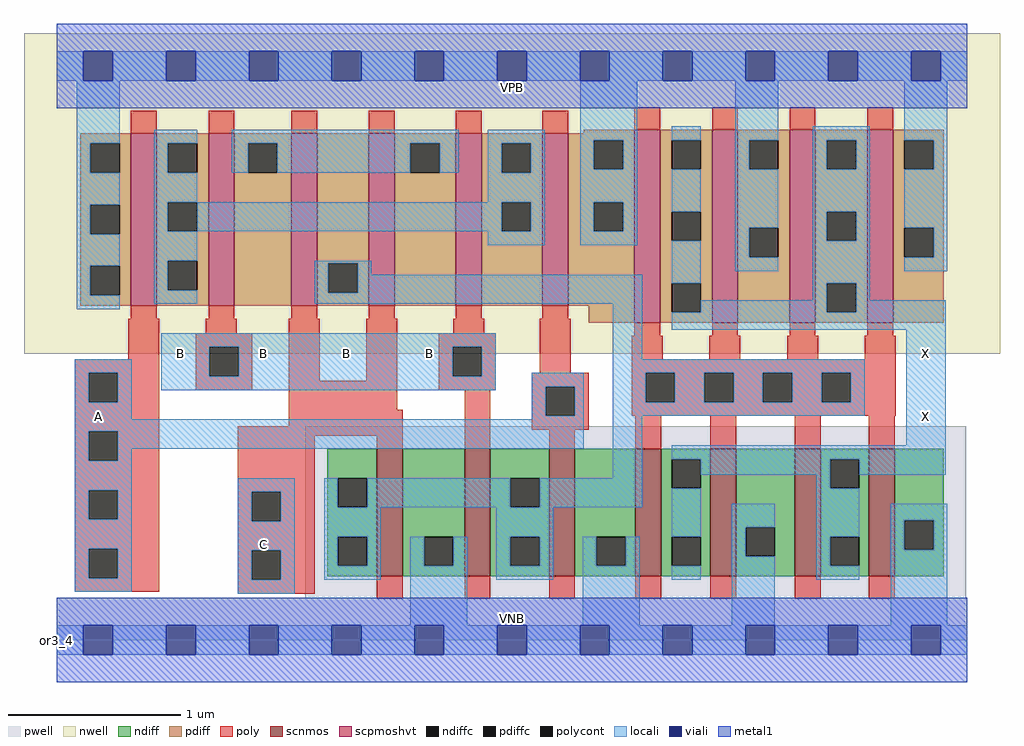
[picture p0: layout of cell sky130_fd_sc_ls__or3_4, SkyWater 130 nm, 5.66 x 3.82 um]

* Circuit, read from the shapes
.subckt sky130_fd_sc_ls__or3_4 A B C VGND VNB VPB VPWR X
XM1 VGND C n1 VNB sky130_fd_pr__nfet_01v8 w=0.74 l=0.15
XM2 n1 B VGND VNB sky130_fd_pr__nfet_01v8 w=0.74 l=0.15
XM3 VGND A n1 VNB sky130_fd_pr__nfet_01v8 w=0.74 l=0.15
XM4 X n1 VGND VNB sky130_fd_pr__nfet_01v8 w=0.74 l=0.15 m=4
XM5 n2 A VPWR VPB sky130_fd_pr__pfet_01v8_hvt w=1 l=0.15 m=2
XM6 n3 B n2 VPB sky130_fd_pr__pfet_01v8_hvt w=1 l=0.15 m=2
XM7 n1 C n3 VPB sky130_fd_pr__pfet_01v8_hvt w=1 l=0.15 m=2
XM8 X n1 VPWR VPB sky130_fd_pr__pfet_01v8_hvt w=1.12 l=0.15 m=4
.ends

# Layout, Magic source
magic
tech sky130A
magscale 1 2
<< nwell >>
rect -38 332 1094 704
<< pwell >>
rect 288 49 1055 248
rect 0 0 1056 49
<< scnmos >>
rect 371 74 401 222
rect 473 74 503 222
rect 571 74 601 222
rect 671 74 701 222
rect 758 74 788 222
rect 856 74 886 222
rect 942 74 972 222
<< scpmoshvt >>
rect 86 388 116 588
rect 176 388 206 588
rect 272 388 302 588
rect 362 388 392 588
rect 463 388 493 588
rect 563 388 593 588
rect 670 368 700 592
rect 760 368 790 592
rect 850 368 880 592
rect 940 368 970 592
<< ndiff >>
rect 314 188 371 222
rect 314 154 326 188
rect 360 154 371 188
rect 314 120 371 154
rect 314 86 326 120
rect 360 86 371 120
rect 314 74 371 86
rect 401 120 473 222
rect 401 86 426 120
rect 460 86 473 120
rect 401 74 473 86
rect 503 188 571 222
rect 503 154 526 188
rect 560 154 571 188
rect 503 120 571 154
rect 503 86 526 120
rect 560 86 571 120
rect 503 74 571 86
rect 601 120 671 222
rect 601 86 626 120
rect 660 86 671 120
rect 601 74 671 86
rect 701 210 758 222
rect 701 176 713 210
rect 747 176 758 210
rect 701 120 758 176
rect 701 86 713 120
rect 747 86 758 120
rect 701 74 758 86
rect 788 131 856 222
rect 788 97 799 131
rect 833 97 856 131
rect 788 74 856 97
rect 886 210 942 222
rect 886 176 897 210
rect 931 176 942 210
rect 886 120 942 176
rect 886 86 897 120
rect 931 86 942 120
rect 886 74 942 86
rect 972 139 1029 222
rect 972 105 983 139
rect 1017 105 1029 139
rect 972 74 1029 105
<< pdiff >>
rect 611 588 670 592
rect 27 576 86 588
rect 27 542 39 576
rect 73 542 86 576
rect 27 505 86 542
rect 27 471 39 505
rect 73 471 86 505
rect 27 434 86 471
rect 27 400 39 434
rect 73 400 86 434
rect 27 388 86 400
rect 116 576 176 588
rect 116 542 129 576
rect 163 542 176 576
rect 116 508 176 542
rect 116 474 129 508
rect 163 474 176 508
rect 116 440 176 474
rect 116 406 129 440
rect 163 406 176 440
rect 116 388 176 406
rect 206 576 272 588
rect 206 542 222 576
rect 256 542 272 576
rect 206 388 272 542
rect 302 437 362 588
rect 302 403 315 437
rect 349 403 362 437
rect 302 388 362 403
rect 392 576 463 588
rect 392 542 410 576
rect 444 542 463 576
rect 392 388 463 542
rect 493 576 563 588
rect 493 542 516 576
rect 550 542 563 576
rect 493 508 563 542
rect 493 474 516 508
rect 550 474 563 508
rect 493 388 563 474
rect 593 580 670 588
rect 593 546 623 580
rect 657 546 670 580
rect 593 508 670 546
rect 593 474 623 508
rect 657 474 670 508
rect 593 388 670 474
rect 617 368 670 388
rect 700 580 760 592
rect 700 546 713 580
rect 747 546 760 580
rect 700 497 760 546
rect 700 463 713 497
rect 747 463 760 497
rect 700 414 760 463
rect 700 380 713 414
rect 747 380 760 414
rect 700 368 760 380
rect 790 580 850 592
rect 790 546 803 580
rect 837 546 850 580
rect 790 478 850 546
rect 790 444 803 478
rect 837 444 850 478
rect 790 368 850 444
rect 880 580 940 592
rect 880 546 893 580
rect 927 546 940 580
rect 880 497 940 546
rect 880 463 893 497
rect 927 463 940 497
rect 880 414 940 463
rect 880 380 893 414
rect 927 380 940 414
rect 880 368 940 380
rect 970 580 1029 592
rect 970 546 983 580
rect 1017 546 1029 580
rect 970 478 1029 546
rect 970 444 983 478
rect 1017 444 1029 478
rect 970 368 1029 444
<< ndiffc >>
rect 326 154 360 188
rect 326 86 360 120
rect 426 86 460 120
rect 526 154 560 188
rect 526 86 560 120
rect 626 86 660 120
rect 713 176 747 210
rect 713 86 747 120
rect 799 97 833 131
rect 897 176 931 210
rect 897 86 931 120
rect 983 105 1017 139
<< pdiffc >>
rect 39 542 73 576
rect 39 471 73 505
rect 39 400 73 434
rect 129 542 163 576
rect 129 474 163 508
rect 129 406 163 440
rect 222 542 256 576
rect 315 403 349 437
rect 410 542 444 576
rect 516 542 550 576
rect 516 474 550 508
rect 623 546 657 580
rect 623 474 657 508
rect 713 546 747 580
rect 713 463 747 497
rect 713 380 747 414
rect 803 546 837 580
rect 803 444 837 478
rect 893 546 927 580
rect 893 463 927 497
rect 893 380 927 414
rect 983 546 1017 580
rect 983 444 1017 478
<< poly >>
rect 86 588 116 614
rect 176 588 206 614
rect 272 588 302 614
rect 362 588 392 614
rect 463 588 493 614
rect 563 588 593 614
rect 670 592 700 618
rect 760 592 790 618
rect 850 592 880 618
rect 940 592 970 618
rect 86 373 116 388
rect 176 373 206 388
rect 272 373 302 388
rect 362 373 392 388
rect 463 373 493 388
rect 563 373 593 388
rect 83 326 119 373
rect 173 356 209 373
rect 21 310 119 326
rect 21 276 37 310
rect 71 276 119 310
rect 161 340 227 356
rect 161 306 177 340
rect 211 306 227 340
rect 161 290 227 306
rect 269 301 305 373
rect 359 301 395 373
rect 460 356 496 373
rect 21 242 119 276
rect 269 267 395 301
rect 443 340 509 356
rect 443 306 459 340
rect 493 306 509 340
rect 560 310 596 373
rect 670 353 700 368
rect 760 353 790 368
rect 850 353 880 368
rect 940 353 970 368
rect 667 326 703 353
rect 757 326 793 353
rect 847 326 883 353
rect 937 326 973 353
rect 667 310 973 326
rect 443 290 509 306
rect 551 294 617 310
rect 269 248 401 267
rect 21 208 37 242
rect 71 208 119 242
rect 21 174 119 208
rect 21 140 37 174
rect 71 140 119 174
rect 21 106 119 140
rect 21 72 37 106
rect 71 72 119 106
rect 21 56 119 72
rect 210 237 401 248
rect 210 172 299 237
rect 371 222 401 237
rect 473 222 503 290
rect 551 260 567 294
rect 601 260 617 294
rect 667 276 683 310
rect 717 276 751 310
rect 785 276 819 310
rect 853 276 887 310
rect 921 276 973 310
rect 667 260 973 276
rect 551 244 617 260
rect 571 222 601 244
rect 671 222 701 260
rect 758 222 788 260
rect 856 222 886 260
rect 942 222 972 260
rect 210 138 226 172
rect 260 138 299 172
rect 210 104 299 138
rect 210 70 226 104
rect 260 70 299 104
rect 210 54 299 70
rect 371 48 401 74
rect 473 48 503 74
rect 571 48 601 74
rect 671 48 701 74
rect 758 48 788 74
rect 856 48 886 74
rect 942 48 972 74
<< polycont >>
rect 37 276 71 310
rect 177 306 211 340
rect 459 306 493 340
rect 37 208 71 242
rect 37 140 71 174
rect 37 72 71 106
rect 567 260 601 294
rect 683 276 717 310
rect 751 276 785 310
rect 819 276 853 310
rect 887 276 921 310
rect 226 138 260 172
rect 226 70 260 104
<< locali >>
rect 0 649 31 683
rect 65 649 127 683
rect 161 649 223 683
rect 257 649 319 683
rect 353 649 415 683
rect 449 649 511 683
rect 545 649 607 683
rect 641 649 703 683
rect 737 649 799 683
rect 833 649 895 683
rect 929 649 991 683
rect 1025 649 1056 683
rect 23 576 73 649
rect 23 542 39 576
rect 23 505 73 542
rect 23 471 39 505
rect 23 434 73 471
rect 23 400 39 434
rect 23 384 73 400
rect 113 576 163 592
rect 113 542 129 576
rect 203 576 466 592
rect 203 542 222 576
rect 256 542 410 576
rect 444 542 466 576
rect 500 576 566 592
rect 500 542 516 576
rect 550 542 566 576
rect 113 508 163 542
rect 500 508 566 542
rect 113 474 129 508
rect 163 474 516 508
rect 550 474 566 508
rect 113 440 163 474
rect 500 458 566 474
rect 607 580 673 649
rect 607 546 623 580
rect 657 546 673 580
rect 607 508 673 546
rect 607 474 623 508
rect 657 474 673 508
rect 607 458 673 474
rect 713 580 747 596
rect 713 497 747 546
rect 113 406 129 440
rect 113 390 163 406
rect 299 437 365 440
rect 299 403 315 437
rect 349 424 365 437
rect 349 403 679 424
rect 299 390 679 403
rect 121 340 509 356
rect 21 310 87 326
rect 21 276 37 310
rect 71 276 87 310
rect 121 306 177 340
rect 211 306 459 340
rect 493 306 509 340
rect 645 326 679 390
rect 713 414 747 463
rect 787 580 837 649
rect 787 546 803 580
rect 787 478 837 546
rect 787 444 803 478
rect 787 428 837 444
rect 877 580 943 596
rect 877 546 893 580
rect 927 546 943 580
rect 877 497 943 546
rect 877 463 893 497
rect 927 463 943 497
rect 877 414 943 463
rect 983 580 1033 649
rect 1017 546 1033 580
rect 983 478 1033 546
rect 1017 444 1033 478
rect 983 428 1033 444
rect 877 394 893 414
rect 747 380 893 394
rect 927 394 943 414
rect 927 380 1031 394
rect 713 360 1031 380
rect 645 310 937 326
rect 121 290 509 306
rect 551 294 611 310
rect 21 256 87 276
rect 551 260 567 294
rect 601 260 611 294
rect 551 256 611 260
rect 21 242 611 256
rect 21 208 37 242
rect 71 222 611 242
rect 645 276 683 310
rect 717 276 751 310
rect 785 276 819 310
rect 853 276 887 310
rect 921 276 937 310
rect 645 260 937 276
rect 71 208 87 222
rect 21 174 87 208
rect 645 188 679 260
rect 985 226 1031 360
rect 21 140 37 174
rect 71 140 87 174
rect 21 106 87 140
rect 21 72 37 106
rect 71 72 87 106
rect 21 56 87 72
rect 210 172 276 188
rect 210 138 226 172
rect 260 138 276 172
rect 210 104 276 138
rect 210 70 226 104
rect 260 70 276 104
rect 310 154 326 188
rect 360 154 526 188
rect 560 154 679 188
rect 713 210 1031 226
rect 747 192 897 210
rect 310 120 376 154
rect 510 120 576 154
rect 713 120 747 176
rect 881 176 897 192
rect 931 192 1031 210
rect 310 86 326 120
rect 360 86 376 120
rect 310 70 376 86
rect 410 86 426 120
rect 460 86 476 120
rect 210 54 276 70
rect 410 17 476 86
rect 510 86 526 120
rect 560 86 576 120
rect 510 70 576 86
rect 610 86 626 120
rect 660 86 676 120
rect 610 17 676 86
rect 713 70 747 86
rect 783 131 833 158
rect 783 97 799 131
rect 783 17 833 97
rect 881 120 931 176
rect 881 86 897 120
rect 881 70 931 86
rect 967 139 1033 158
rect 967 105 983 139
rect 1017 105 1033 139
rect 967 17 1033 105
rect 0 -17 31 17
rect 65 -17 127 17
rect 161 -17 223 17
rect 257 -17 319 17
rect 353 -17 415 17
rect 449 -17 511 17
rect 545 -17 607 17
rect 641 -17 703 17
rect 737 -17 799 17
rect 833 -17 895 17
rect 929 -17 991 17
rect 1025 -17 1056 17
<< viali >>
rect 31 649 65 683
rect 127 649 161 683
rect 223 649 257 683
rect 319 649 353 683
rect 415 649 449 683
rect 511 649 545 683
rect 607 649 641 683
rect 703 649 737 683
rect 799 649 833 683
rect 895 649 929 683
rect 991 649 1025 683
rect 31 -17 65 17
rect 127 -17 161 17
rect 223 -17 257 17
rect 319 -17 353 17
rect 415 -17 449 17
rect 511 -17 545 17
rect 607 -17 641 17
rect 703 -17 737 17
rect 799 -17 833 17
rect 895 -17 929 17
rect 991 -17 1025 17
<< metal1 >>
rect 0 683 1056 715
rect 0 649 31 683
rect 65 649 127 683
rect 161 649 223 683
rect 257 649 319 683
rect 353 649 415 683
rect 449 649 511 683
rect 545 649 607 683
rect 641 649 703 683
rect 737 649 799 683
rect 833 649 895 683
rect 929 649 991 683
rect 1025 649 1056 683
rect 0 617 1056 649
rect 0 17 1056 49
rect 0 -17 31 17
rect 65 -17 127 17
rect 161 -17 223 17
rect 257 -17 319 17
rect 353 -17 415 17
rect 449 -17 511 17
rect 545 -17 607 17
rect 641 -17 703 17
rect 737 -17 799 17
rect 833 -17 895 17
rect 929 -17 991 17
rect 1025 -17 1056 17
rect 0 -49 1056 -17
<< labels >>
rlabel comment s 0 0 0 0 4 or3_4
flabel pwell s 0 0 1056 49 0 FreeSans 200 0 0 0 VNB
port 5 nsew ground bidirectional
flabel nwell s 0 617 1056 666 0 FreeSans 200 0 0 0 VPB
port 6 nsew power bidirectional
flabel metal1 s 0 617 1056 666 0 FreeSans 340 0 0 0 VPWR
port 7 nsew power bidirectional abutment
flabel metal1 s 0 0 1056 49 0 FreeSans 340 0 0 0 VGND
port 4 nsew ground bidirectional abutment
flabel locali s 127 316 161 350 0 FreeSans 340 0 0 0 B
port 2 nsew signal input
flabel locali s 223 316 257 350 0 FreeSans 340 0 0 0 B
port 2 nsew signal input
flabel locali s 319 316 353 350 0 FreeSans 340 0 0 0 B
port 2 nsew signal input
flabel locali s 415 316 449 350 0 FreeSans 340 0 0 0 B
port 2 nsew signal input
flabel locali s 31 242 65 276 0 FreeSans 340 0 0 0 A
port 1 nsew signal input
flabel locali s 223 94 257 128 0 FreeSans 340 0 0 0 C
port 3 nsew signal input
flabel locali s 991 242 1025 276 0 FreeSans 340 0 0 0 X
port 8 nsew signal output
flabel locali s 991 316 1025 350 0 FreeSans 340 0 0 0 X
port 8 nsew signal output
<< properties >>
string LEFsite unit
string LEFclass CORE
string FIXED_BBOX 0 0 1056 666
string GDS_FILE $PDKPATH/libs.ref/sky130_fd_sc_ls/gds/sky130_fd_sc_ls.gds
string LEFsymmetry X Y
string GDS_END 1665080
string GDS_START 1655644
<< end >>
